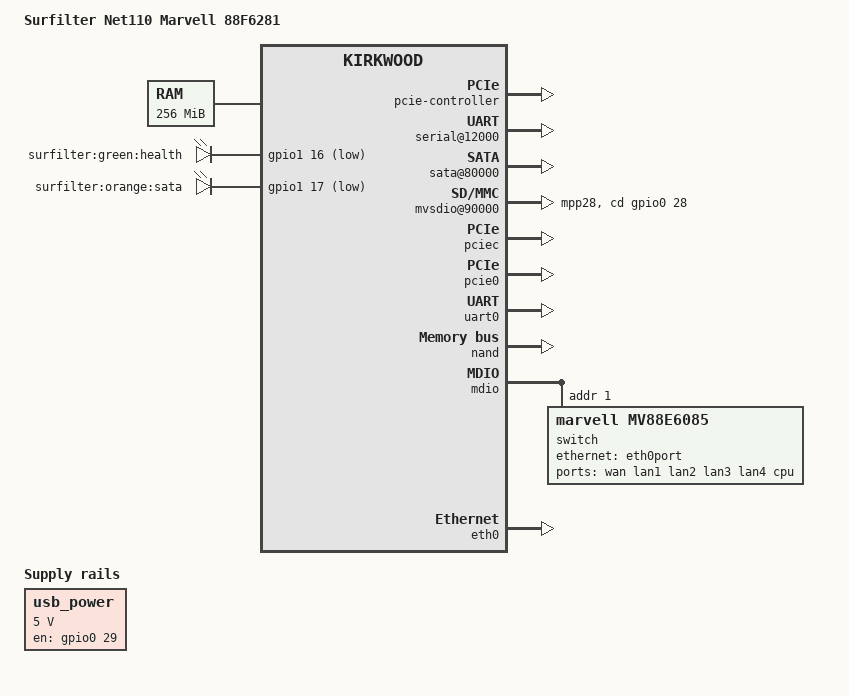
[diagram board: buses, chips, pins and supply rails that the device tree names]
/*
 * kirkwood-pogo_e02.dts - Device tree file for Pogoplug E02
 *
 * Copyright (C) 2015 Christoph Junghans <ottxor@gentoo.org>
 *
 * based on information of dts files from
 *  Arch Linux ARM by Oleg Rakhmanov <moonman.ca@gmail.com>
 *  OpenWrt by Felix Kaechele <heffer@fedoraproject.org>
 *
 * This file is licensed under the terms of the GNU General Public
 * License version 2.  This program is licensed "as is" without any
 * warranty of any kind, whether express or implied.
 */

/dts-v1/;

#include "kirkwood.dtsi"
#include "kirkwood-6281.dtsi"

/ {
	model = "Surfilter Net110 Marvell 88F6281";
	compatible = "surfilter,net110-88F6281", "cloudengines,pogoe02", "marvell,kirkwood-88f6281","marvell,kirkwood";

	aliases {
		led-boot = &led_health;
		led-running = &led_health;
	};

	memory {
		device_type = "memory";
		reg = <0x00000000 0x10000000>;
	};

	chosen {
		bootargs = "console=ttyS0,115200n8";
		stdout-path = &uart0;
	};

	mbus {
		pcie-controller {
			status = "okay";

			pcie@1,0 {
				status = "okay";
			};

			pcie@2,0 {
				status = "okay";
			};
		};
	};

	gpio-leds {
		compatible = "gpio-leds";

		led_health: health {
			label = "surfilter:green:health";
			gpios = <&gpio1 16 GPIO_ACTIVE_LOW>;
			default-state = "on";
		};

		led_sata: sata {
			label = "surfilter:orange:sata";
			gpios = <&gpio1 17 GPIO_ACTIVE_LOW>;
		};
	};

	regulators {
		compatible = "simple-bus";
		#address-cells = <1>;
		#size-cells = <0>;
		pinctrl-0 = <&pmx_usb_power_enable>;
		pinctrl-names = "default";

		usb_power: regulator@1 {
			compatible = "regulator-fixed";
			reg = <1>;
			regulator-name = "USB Power";
			regulator-min-microvolt = <5000000>;
			regulator-max-microvolt = <5000000>;
			enable-active-high;
			regulator-always-on;
			regulator-boot-on;
			gpio = <&gpio0 29 GPIO_ACTIVE_HIGH>;
		};
	};

	ocp@f1000000 {
		pinctrl: pin-controller@10000 {
			pinctrl-names = "default";

			pmx_sdio_cd: pmx-sdio-cd {
				marvell,pins = "mpp28";
				marvell,function = "gpio";
			};
		};

		serial@12000 {
			status = "okay";
		};

		sata@80000 {
			status = "okay";
			nr-ports = <2>;
		};

		mvsdio@90000 {
			pinctrl-0 = <&pmx_sdio &pmx_sdio_cd>;
			pinctrl-names = "default";
			status = "okay";
			cd-gpios = <&gpio0 28 GPIO_ACTIVE_HIGH>;
			/* No WP GPIO */
		};
	};

};

&pciec {
	status = "okay";
};

&pcie0 {
	status = "okay";
};

&pinctrl {
	pinctrl-0 = < &pmx_usb_power_enable &pmx_led_orange &pmx_led_green >;
	pinctrl-names = "default";

	pmx_usb_power_enable: pmx-usb-power-enable {
		marvell,pins = "mpp29";
		marvell,function = "gpio";
	};

	pmx_led_green: pmx-led-green {
		marvell,pins = "mpp48";
		marvell,function = "gpio";
	};

	pmx_led_orange: pmx-led-orange {
		marvell,pins = "mpp49";
		marvell,function = "gpio";
	};
};

&uart0 {
	status = "okay";
};

&nand {
	chip-delay = <40>;
	status = "okay";

	partition@0 {
		label = "u-boot";
		reg = <0x0000000 0x100000>;
		read-only;
	};

	partition@100000 {
		label = "uImage";
		reg = <0x0100000 0x400000>;
	};

	partition@500000 {
		label = "rootfs";
		reg = <0x0500000 0x6000000>;
	};

	partition@6500000 {
		label = "root";
		reg = <0x06500000 0x6b00000>;
	};
};

&mdio {
	status = "okay";

	switch: switch@01 {
		compatible = "marvell,mv88e6085";
		#address-cells = <1>;
		#size-cells = <0>;
		reg = <0x01>;

		ports {
			#address-cells = <1>;
			#size-cells = <0>;

			port@0 {
				reg = <0>;
				label = "wan";
			};

			port@1 {
				reg = <1>;
				label = "lan1";
			};

			port@2 {
				reg = <2>;
				label = "lan2";
			};

			port@3 {
				reg = <3>;
				label = "lan3";
			};

			port@4 {
				reg = <4>;
				label = "lan4";
			};

			port@5 {
				reg = <5>;
				label = "cpu";
				ethernet = <&eth0port>;
				fixed-link {
					speed = <1000>;
					full-duplex;
				};
			};
		};
	};
};

&eth0 {
	status = "okay";
	ethernet0-port@0 {
		speed = <1000>;
		duplex = <1>;
	};
};

&eth1 {
	status = "disabled";
};
